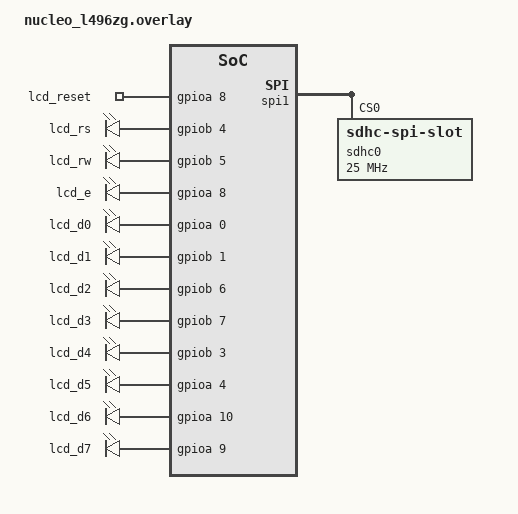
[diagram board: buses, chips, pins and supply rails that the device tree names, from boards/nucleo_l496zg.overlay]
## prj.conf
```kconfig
CONFIG_GPIO=y

CONFIG_STDOUT_CONSOLE=y
CONFIG_SPI=y

CONFIG_DISK_ACCESS=y
CONFIG_LOG=y
CONFIG_FILE_SYSTEM=y
CONFIG_FAT_FILESYSTEM_ELM=y
CONFIG_PRINTK=y
CONFIG_MAIN_STACK_SIZE=4096

CONFIG_DISK_DRIVERS=y
CONFIG_DISK_DRIVER_SDMMC=y

CONFIG_FS_FATFS_LFN=y

CONFIG_RTC=y
CONFIG_RTC_STM32=y

CONFIG_NEWLIB_LIBC=y
CONFIG_NEWLIB_LIBC_FLOAT_PRINTF=y

CONFIG_TEST_RANDOM_GENERATOR=y

CONFIG_HEAP_MEM_POOL_SIZE=4096

CONFIG_SERIAL=y
CONFIG_UART_INTERRUPT_DRIVEN=y

CONFIG_GDBSTUB=y
CONFIG_GDBSTUB_SERIAL_BACKEND=y
CONFIG_UART_CONSOLE=n
CONFIG_RTT_CONSOLE=y
CONFIG_USE_SEGGER_RTT=y
```

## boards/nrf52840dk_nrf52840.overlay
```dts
/*
 * Copyright (c) 2023 Nordic Semiconductor ASA
 *
 * SPDX-License-Identifier: Apache-2.0
 */

/* Because FAT FS needs at least 64kiB partition and default
 * storage_partition is 32kiB for that board, we need to reorgatnize
 * partitions to get at least 64KiB.
 * This overlay removes image slot partitions and strips each of 64kiB,
 * and removes the storage partition to add the additional 2*64kiB to
 * it.
 */

&spi1 {
    status = "okay";
    sck-pin = <&gpio1 15 GPIO_ACTIVE_HIGH>;  /* SPI Clock Pin */
    mosi-pin = <&gpio1 14 GPIO_ACTIVE_HIGH>; /* SPI MOSI Pin */
    miso-pin = <&gpio1 13 GPIO_ACTIVE_HIGH>; /* SPI MISO Pin */
    cs-pin = <&gpio1 12 GPIO_ACTIVE_HIGH>;   /* SPI Chip Select Pin */
};
```

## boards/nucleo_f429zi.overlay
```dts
&spi1 {
        status = "okay";
        /* cs-gpios = <&gpioa 2 GPIO_ACTIVE_LOW>; */

        /*
        lcd_st7920: lcd_st7920@0 {
                compatible = "vnd,spi-device";
                reg = <0>;
                spi-max-frequency = <540000>;
                label = "lcd_st7920";
        };
        */
        
        sdhc0: sdhc@0 {
                compatible = "zephyr,sdhc-spi-slot";
                reg = <0>;
                status = "okay";
                label = "SDHC_0";
                mmc {
                        disk-name = "SD";
                        compatible = "zephyr,sdmmc-disk";
                        status = "okay";
                };
                spi-max-frequency = <25000000>;
        };

};


/ {
        lcd_gpio: lcd_gpio {   
                compatible = "gpio-leds";
                lcd_reset: lcd_reset {
                        gpios = <&gpioa 3 GPIO_ACTIVE_HIGH>;
                        label = "lcd_reset_pin";
                };
	};

        aliases {
                rtc= &rtc;
        };
};

	
```

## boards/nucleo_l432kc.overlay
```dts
&spi1 {
    status = "okay";
    sdhc0: sdhc@0 {
        compatible = "zephyr,sdhc-spi-slot";
        reg = <0>;
        status = "okay";
        mmc {
            compatible = "zephyr,sdmmc-disk";
            disk-name = "SD";
            status = "okay";
        };
        spi-max-frequency = <25000000>;
    };
};

/ {
    lcdgpio: lcdgpio {
        compatible = "gpio-leds";
        lcd_reset: lcd_reset {
            gpios = <&gpioa 1 GPIO_ACTIVE_HIGH>;
        };
        lcd_rs: lcd_rs {
            gpios = <&gpiob 4 GPIO_ACTIVE_HIGH>;
        };
        lcd_e: lcd_e {
            gpios = <&gpioa 8 GPIO_ACTIVE_HIGH>;
        };
        lcd_d0: lcd_d0 {
            gpios = <&gpioa 0 GPIO_ACTIVE_HIGH>;
        };
        lcd_d1: lcd_d1 {
            gpios = <&gpiob 1 GPIO_ACTIVE_HIGH>;
        };
        lcd_d2: lcd_d2 {
            gpios = <&gpiob 6 GPIO_ACTIVE_HIGH>;
        };
        lcd_d3: lcd_d3 {
            gpios = <&gpiob 7 GPIO_ACTIVE_HIGH>;
        };
        lcd_d4: lcd_d4 {
            gpios = <&gpiob 3 GPIO_ACTIVE_HIGH>;
        };
        lcd_d5: lcd_d5 {
            gpios = <&gpiob 5 GPIO_ACTIVE_HIGH>;
        };
        lcd_d6: lcd_d6 {
            gpios = <&gpioa 10 GPIO_ACTIVE_HIGH>;
        };
        lcd_d7: lcd_d7 {
            gpios = <&gpioa 9 GPIO_ACTIVE_HIGH>;
        };
    };
    
    aliases {
        rtc= &rtc;
    };

    chosen {
        zephyr,gdbstub-uart = &usart1;
    };
};
```

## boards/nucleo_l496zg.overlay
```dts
&spi1 {
    status = "okay";
    sdhc0: sdhc@0 {
        compatible = "zephyr,sdhc-spi-slot";
        reg = <0>;
        status = "okay";
        mmc {
            compatible = "zephyr,sdmmc-disk";
            disk-name = "SD";
            status = "okay";
        };
        spi-max-frequency = <25000000>;
    };
};

/ {
    lcdgpio: lcdgpio {
        compatible = "gpio-leds";
        lcd_reset: lcd_reset {
            gpios = <&gpioa 8 GPIO_ACTIVE_HIGH>;
        };
        lcd_rs: lcd_rs {
            gpios = <&gpiob 4 GPIO_ACTIVE_HIGH>;
        };
        lcd_rw: lcd_rw {
            gpios = <&gpiob 5 GPIO_ACTIVE_HIGH>;
        };
        lcd_e: lcd_e {
            gpios = <&gpioa 8 GPIO_ACTIVE_HIGH>;
        };
        lcd_d0: lcd_d0 {
            gpios = <&gpioa 0 GPIO_ACTIVE_HIGH>;
        };
        lcd_d1: lcd_d1 {
            gpios = <&gpiob 1 GPIO_ACTIVE_HIGH>;
        };
        lcd_d2: lcd_d2 {
            gpios = <&gpiob 6 GPIO_ACTIVE_HIGH>;
        };
        lcd_d3: lcd_d3 {
            gpios = <&gpiob 7 GPIO_ACTIVE_HIGH>;
        };
        lcd_d4: lcd_d4 {
            gpios = <&gpiob 3 GPIO_ACTIVE_HIGH>;
        };
        lcd_d5: lcd_d5 {
            gpios = <&gpioa 4 GPIO_ACTIVE_HIGH>;
        };
        lcd_d6: lcd_d6 {
            gpios = <&gpioa 10 GPIO_ACTIVE_HIGH>;
        };
        lcd_d7: lcd_d7 {
            gpios = <&gpioa 9 GPIO_ACTIVE_HIGH>;
        };
    };
    
    aliases {
        rtc= &rtc;
    };
};
```

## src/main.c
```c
/*
 * main.c
 */

#include <zephyr/kernel.h>
#include <zephyr/device.h>
#include <zephyr/devicetree.h>
#include <stdio.h>
#include <stdlib.h>
#include <string.h>
#include <zephyr/drivers/spi.h>
#include <zephyr/logging/log.h>
#include <zephyr/drivers/gpio.h>
#include "drivers/st7920.h"
#include "drivers/sd.h"
#include <zephyr/drivers/uart.h>
#include <zephyr/random/random.h>
#include "drivers/uart.h"


// thread stack size
#define STACK_SIZE 4096

// random thread priority
#define RANDOM_THREAD_PRIORITY 6
// mount thread priority
#define MOUNT_THREAD_PRIORITY 7

// function prototypes
void lcd_thread();
void mount_thread();

// threads
K_THREAD_DEFINE(random_tid, STACK_SIZE, lcd_thread, NULL, NULL, NULL, RANDOM_THREAD_PRIORITY, 0, 0);
K_THREAD_DEFINE(mount_tid, STACK_SIZE, mount_thread, NULL, NULL, NULL, MOUNT_THREAD_PRIORITY, 0, 0);

// buffer to store data for each channel
static float fake_data[8];

// dt for uart
static struct device *const uart_dev = DEVICE_DT_GET(DT_CHOSEN(zephyr_console));

/*
 * Returns a 'random' float
 */
float get_random_float() {
	uint32_t random;
	sys_rand_get(&random, sizeof(random));

	float scaled = ((float)random / (float)UINT32_MAX) * 20.0f - 10.0f;

	return ((int)(scaled * 1000.0f)) / 1000.0f;
}

/*
 * Populates global float buffer with 8 floats
 */
void get_random_buffer() {
    for (size_t i = 0; i < 8; i++) {
        fake_data[i] = get_random_float();
    }
}

/*
 * Test function that adds an entry to the csv file
 */
 void test_sd_card() {
	get_random_buffer();
	csv_add_entry(fake_data);
	k_msleep(10);
}

/*
 * Thread that constantly attempts to mount
 */
void mount_thread() {
	k_msleep(1000);
	csv_create();
	format_csv_header();
}

/*
 * Thread that initialises LCD, UART, basic display layout and constantly displays random floats on the screen
 */
void lcd_thread() {
	/* Verify uart_irq_callback_set() */
	uart_irq_callback_set(uart_dev, uart_fifo_callback);

	/* Enable Tx/Rx interrupt before using fifo */
	/* Verify uart_irq_rx_enable() */
	uart_irq_rx_enable(uart_dev);

	gpio_init();
	k_msleep(10);
	lcd_init();

	set_ddram_address(0, 0);
	write_str("CH1");
	
	set_ddram_address(1, 0);
	write_str("CH2");

	set_ddram_address(2, 0);
	write_str("CH3");

	set_ddram_address(3, 0);
	write_str("CH4");

	set_ddram_address(0, 6);
	write_str("V");
	
	set_ddram_address(1, 6);
	write_str("V");

	set_ddram_address(2, 6);
	write_str("V");

	set_ddram_address(3, 6);
	write_str("V");

	char s[8];
	while (1) {
		if (connectedStatus == 0) {
			set_ddram_address(0, 7);
			write_char(0x09);
		} else if (connectedStatus == 1) {
			set_ddram_address(0, 7);
			write_char(0x07);
		}

		get_random_buffer();
		for (int i = 0; i < 4; i++) {
			set_ddram_address(i, 2);
			write_str(" ");
			set_ddram_address(i, 2);
			sprintf(s, "%7.3f", fake_data[i]);
			write_str(s);
		}
		test_sd_card();
		k_msleep(250);
	}
}
```
